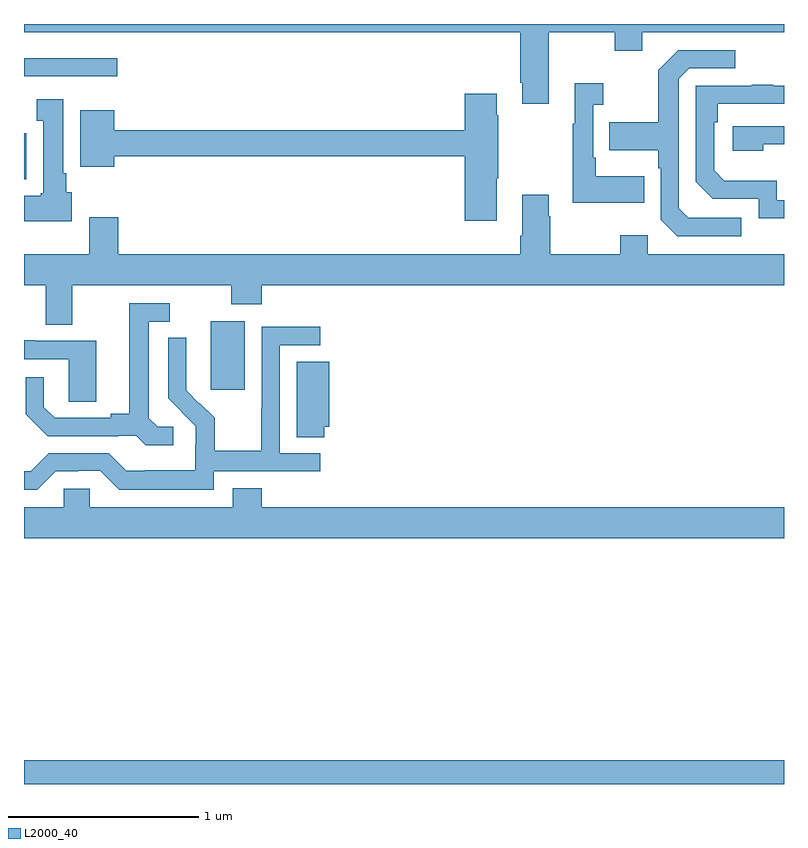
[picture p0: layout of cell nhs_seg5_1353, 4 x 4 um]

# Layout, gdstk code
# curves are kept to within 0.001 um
import gdstk
lib = gdstk.Library(unit=1e-6, precision=1e-09)
def R(c, l, rs):  # rectangles x0, y0, x1, y1
    for r in rs: c.add(gdstk.rectangle(r[:2], r[2:], *l))
def P(c, l, *ps):  # polygons
    for p in ps: c.add(gdstk.Polygon(p, *l))
L2000_40 = (2000, 40)

nhs_seg5_1353 = lib.new_cell('nhs_seg5_1353')
R(nhs_seg5_1353, L2000_40, [(193,856.799,197,856.924), (193.982,858.873,194.161,859.234), (193,859.982,193.012,860.224), (193,860.523,193.492,860.62)])
P(nhs_seg5_1353, L2000_40, [(195.763,860.756),(196.108,860.756),(196.108,860.657),(196.255,860.657),(196.255,860.756),(197,860.756),(197,860.799),(193,860.799),(193,860.756),(195.611,860.756),(195.611,860.491),(195.623,860.491),(195.623,860.379),(195.763,860.379)],
  [(196.774,859.779),(196.497,859.779),(196.446,859.83),(196.446,860.511),(196.5,860.565),(196.744,860.565),(196.744,860.661),(196.443,860.661),(196.338,860.555),(196.338,860.283),(196.081,860.283),(196.081,860.135),(196.338,860.135),(196.338,860.039),(196.35,860.039),(196.35,859.77),(196.437,859.683),(196.774,859.683)],
  [(196.265,859.999),(196.009,859.999),(196.009,860.095),(195.996,860.095),(195.996,860.375),(196.048,860.375),(196.048,860.488),(195.899,860.488),(195.899,860.275),(195.888,860.275),(195.888,859.859),(196.265,859.859)],
  [(197,859.872),(196.962,859.872),(196.962,859.975),(196.685,859.975),(196.632,860.028),(196.632,860.282),(196.652,860.282),(196.652,860.379),(197,860.379),(197,860.475),(196.943,860.475),(196.943,860.48),(196.831,860.48),(196.831,860.475),(196.536,860.475),(196.536,859.968),(196.626,859.878),(196.866,859.878),(196.866,859.776),(197,859.776)],
  [(195.487,859.987),(195.495,859.987),(195.495,860.318),(195.487,860.318),(195.487,860.431),(195.32,860.431),(195.32,860.24),(193.474,860.24),(193.474,860.344),(193.295,860.344),(193.295,860.048),(193.474,860.048),(193.474,860.104),(195.32,860.104),(195.32,859.764),(195.487,859.764)],
  [(193.252,859.914),(193.222,859.914),(193.222,860.014),(193.207,860.014),(193.207,860.404),(193.067,860.404),(193.067,860.291),(193.1,860.291),(193.1,859.908),(193.087,859.908),(193.087,859.894),(193,859.894),(193,859.76),(193.252,859.76)],
  [(196.892,860.166),(197,860.166),(197,860.262),(196.731,860.262),(196.731,860.132),(196.892,860.132)],
  [(193.255,859.424),(194.092,859.424),(194.092,859.325),(194.252,859.325),(194.252,859.424),(197,859.424),(197,859.588),(196.284,859.588),(196.284,859.687),(196.138,859.687),(196.138,859.588),(195.771,859.588),(195.771,859.787),(195.763,859.787),(195.763,859.9),(195.623,859.9),(195.623,859.684),(195.611,859.684),(195.611,859.588),(193.496,859.588),(193.496,859.783),(193.343,859.783),(193.343,859.588),(193,859.588),(193,859.424),(193.115,859.424),(193.115,859.216),(193.255,859.216)],
  [(193.786,858.678),(193.704,858.678),(193.657,858.725),(193.657,859.233),(193.768,859.233),(193.768,859.329),(193.553,859.329),(193.553,858.749),(193.457,858.749),(193.457,858.726),(193.162,858.726),(193.105,858.783),(193.105,858.94),(193.008,858.94),(193.008,858.746),(193.124,858.63),(193.496,858.63),(193.496,858.633),(193.59,858.633),(193.642,858.581),(193.786,858.581)],
  [(193.998,858.444),(194.56,858.444),(194.56,858.54),(194.346,858.54),(194.346,859.107),(194.56,859.107),(194.56,859.206),(194.25,859.206),(194.25,858.776),(194.248,858.776),(194.248,858.553),(194.003,858.553),(194.003,858.727),(193.926,858.804),(193.923,858.801),(193.853,858.872),(193.854,859.148),(193.758,859.148),(193.758,858.83),(193.904,858.682),(193.904,858.585),(193.902,858.585),(193.902,858.451),(193.639,858.451),(193.639,858.447),(193.539,858.447),(193.446,858.54),(193.131,858.54),(193.035,858.444),(193,858.444),(193,858.348),(193.071,858.348),(193.167,858.444),(193.286,858.444),(193.286,858.447),(193.401,858.447),(193.501,858.347),(193.998,858.347)],
  [(193.381,859.131),(193.057,859.131),(193.057,859.135),(193,859.135),(193,859.035),(193.236,859.035),(193.236,858.811),(193.381,858.811)],
  [(194.579,858.678),(194.606,858.678),(194.606,859.022),(194.435,859.022),(194.435,858.625),(194.579,858.625)],
  [(197,858.256),(194.252,858.256),(194.252,858.355),(194.099,858.355),(194.099,858.256),(193.347,858.256),(193.347,858.354),(193.209,858.354),(193.209,858.256),(193,858.256),(193,858.092),(197,858.092)])

lib.write_gds('nhs_seg5_1353.gds')
